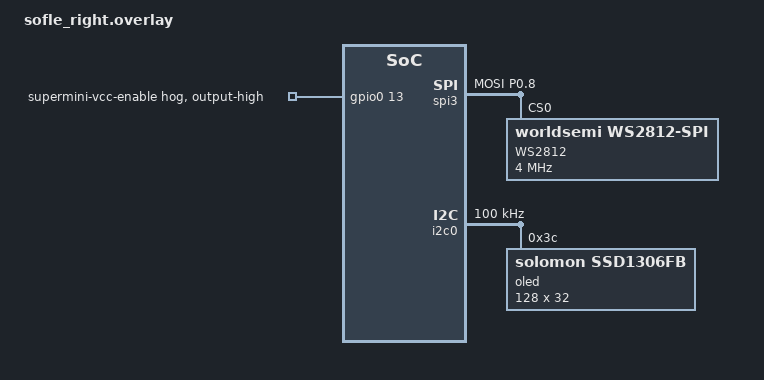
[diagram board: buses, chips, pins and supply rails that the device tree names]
/*
 * Copyright (c) 2023 The ZMK Contributors
 * SPDX-License-Identifier: MIT
 *
 * Sofle Choc Wireless (right half / peripheral) overlay for RGB underglow and OLED.
 * Pin assignments based on db-ok/SofleChocWireless reference project:
 *   https://github.com/db-ok/SofleChocWireless
 *   https://github.com/db-ok/zmk-config-soflechocwireless
 *
 * Pin mapping confirmed from hardware:
 *   RGB SPI : schematic LED net / DIN = P0.08
 *   PCB CS  : P0.06 (not the WS2812 data signal)
 *   OLED I2C: SDA = P0.17, SCL = P0.20
 *
 * The built-in Sofle OLED node uses I2C0. Only its ProMicroNRF52840 pinctrl is
 * retained here explicitly to match this PCB.
 */

#include <dt-bindings/led/led.h>
#include <dt-bindings/gpio/gpio.h>

/* Keep the SuperMini 3.3 V VCC output enabled for the OLED and RGB rail. */
&{/EXT_POWER} {
    status = "disabled";
};

&gpio0 {
    vcc_enable_hog: vcc_enable_hog {
        gpio-hog;
        gpios = <13 GPIO_ACTIVE_HIGH>;
        output-high;
        line-name = "supermini-vcc-enable";
    };
};

&pinctrl {
    spi3_default: spi3_default {
        group1 {
            psels = <NRF_PSEL(SPIM_MOSI, 0, 8)>;
        };
    };

    spi3_sleep: spi3_sleep {
        group1 {
            psels = <NRF_PSEL(SPIM_MOSI, 0, 8)>;
            low-power-enable;
        };
    };

};

&i2c0_default {
    group1 {
        psels = <NRF_PSEL(TWIM_SDA, 0, 17)>, <NRF_PSEL(TWIM_SCL, 0, 20)>;
    };
};

&i2c0_sleep {
    group1 {
        psels = <NRF_PSEL(TWIM_SDA, 0, 17)>, <NRF_PSEL(TWIM_SCL, 0, 20)>;
        low-power-enable;
    };
};

&spi3 {
    compatible = "nordic,nrf-spim";
    status = "okay";

    pinctrl-0 = <&spi3_default>;
    pinctrl-1 = <&spi3_sleep>;
    pinctrl-names = "default", "sleep";

    led_strip: ws2812@0 {
        compatible = "worldsemi,ws2812-spi";
        label = "WS2812";

        /* SPI */
        reg = <0>;
        spi-max-frequency = <4000000>;

        /* WS2812 */
        chain-length = <30>; /* Single half: 30 WS2812 LEDs (underglow) */
        spi-one-frame = <0x70>;
        spi-zero-frame = <0x40>;
        color-mapping = <LED_COLOR_ID_GREEN LED_COLOR_ID_RED LED_COLOR_ID_BLUE>;
    };
};

&i2c0 {
    status = "okay";
    compatible = "nordic,nrf-twim";
    pinctrl-0 = <&i2c0_default>;
    pinctrl-1 = <&i2c0_sleep>;
    pinctrl-names = "default", "sleep";
    clock-frequency = <100000>;

    oled: ssd1306@3c {
        compatible = "solomon,ssd1306fb";
        reg = <0x3c>;
        width = <128>;
        height = <32>;
        segment-offset = <0>;
        page-offset = <0>;
        display-offset = <0>;
        multiplex-ratio = <31>;
        segment-remap;
        com-invdir;
        com-sequential;
        /* Match the upstream Sofle SSD1306 node: black background, white pixels. */
        inversion-on;
        prechargep = <0x22>;
    };
};

/ {
    chosen {
        zmk,underglow = &led_strip;
        zephyr,display = &oled;
    };
};
